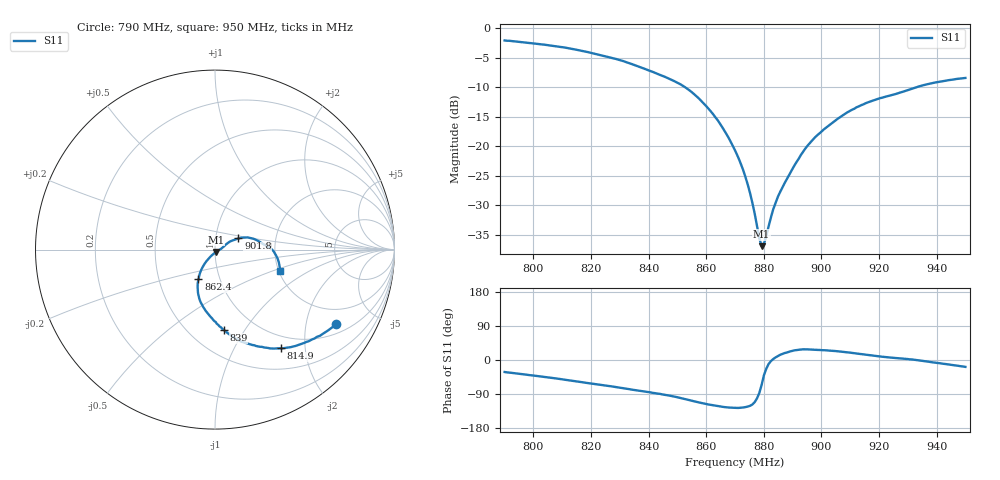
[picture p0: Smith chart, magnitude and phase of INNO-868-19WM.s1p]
# MHz S MA R 50
!  freq  S11
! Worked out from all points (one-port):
!   200 points, 790 MHz to 950 MHz, reference 50 ohm
!   lowest |S11| = -36.9 dB at 879.2 MHz (marker M1), VSWR 1.03, Z = 50.6 - j1.32 ohm
!   |S11| at or under -10 dB: 852.8 MHz to 932.7 MHz (79.94 MHz wide, 8.95 % of centre)
!   S11 on the Smith chart (normalised r, x): 790 MHz: 1.34, -2.97; 814.9 MHz: 0.80, -1.56; 839 MHz: 0.72, -0.81; 862.4 MHz: 0.79, -0.27; 901.8 MHz: 1.29, +0.16; 950 MHz: 2.03, -0.56
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790  0.791 -31.7
798.04  0.7573 -39.3
810.101  0.6938 -51.1
814.925  0.6601 -56.4
822.965  0.5966 -65.2
830.201  0.5372 -73.3
839.045  0.4503 -83.8
850.302  0.3438 -98.9
856.734  0.2647 -110.7
862.362  0.188 -119.4
867.186  0.1253 -125.0
870.402  0.08823 -126.4
872.814  0.06323 -125.3
874.422  0.04748 -122.9
876.03  0.03325 -117.3
878.442  0.01666 -87.1
879.246  0.01426 -65.7
880.05  0.01493 -40.1
883.266  0.02927 2.5
884.874  0.03732 10.2
890.503  0.06806 25.3
895.327  0.1023 28.0
901.759  0.145 25.6
910.603  0.2043 18.8
916.231  0.2368 13.0
930.704  0.3048 1.8
939.548  0.3482 -7.0
950  0.3804 -18.2
